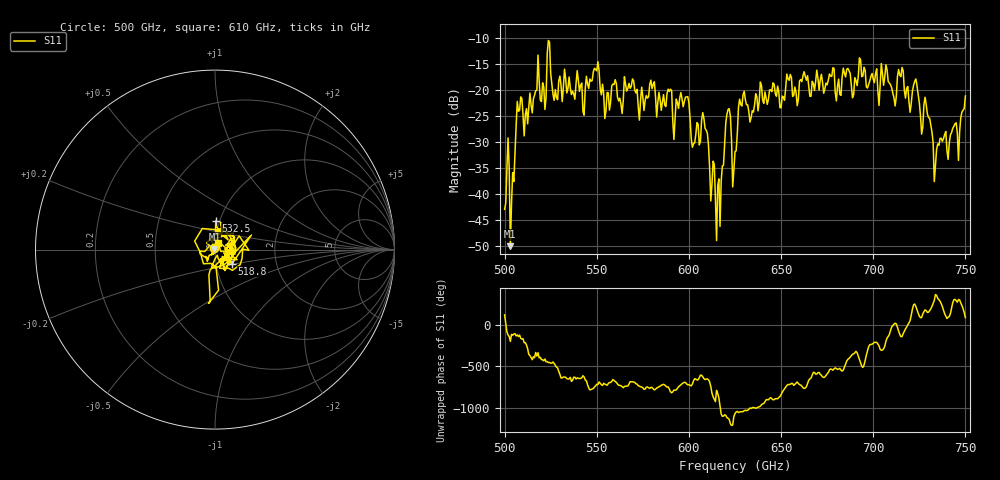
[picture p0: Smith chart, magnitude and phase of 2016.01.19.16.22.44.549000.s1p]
!Created with skrf (http://scikit-rf.org).
# GHz S RI R 50.0
!freq ReS11 ImS11
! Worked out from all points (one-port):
!   401 points, 500 GHz to 750 GHz, reference 50 ohm
!   lowest |S11| = -50.0 dB at 503.1 GHz (marker M1), VSWR 1.01, Z = 49.7 + j0.118 ohm
!   |S11| at or under -10 dB: start of sweep to end of sweep
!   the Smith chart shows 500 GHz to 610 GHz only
!   S11 on the Smith chart (normalised r, x): 500 GHz: 0.99, +0.01; 518.8 GHz: 1.19, -0.19; 532.5 GHz: 0.96, +0.31; 610 GHz: 1.03, +0.07
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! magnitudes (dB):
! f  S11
! 500 GHz  -42.9
! 503.1 GHz  -50.0
! 504.4 GHz  -35.8
! 508.1 GHz  -23.8
! 511.2 GHz  -24.6
! 518.8 GHz  -18.2
! 521.2 GHz  -19.4
! 524.4 GHz  -10.7
! 527.5 GHz  -19.9
! 531.2 GHz  -22.2
! 532.5 GHz  -15.9
! 550 GHz  -16.2
! 553.8 GHz  -20.7
! 562.5 GHz  -21.5
! 593.8 GHz  -22.3
! 610 GHz  -28.2
! 615.6 GHz  -38.3
! 621.2 GHz  -23.7
! 625 GHz  -31.8
! 628.8 GHz  -23.0
! 656.2 GHz  -21.2
! 687.5 GHz  -16.7
! 711.2 GHz  -21.4
! 715 GHz  -17.4
! 718.8 GHz  -19.2
! 723.1 GHz  -17.8
! 734.4 GHz  -31.4
! 750 GHz  -21.1
